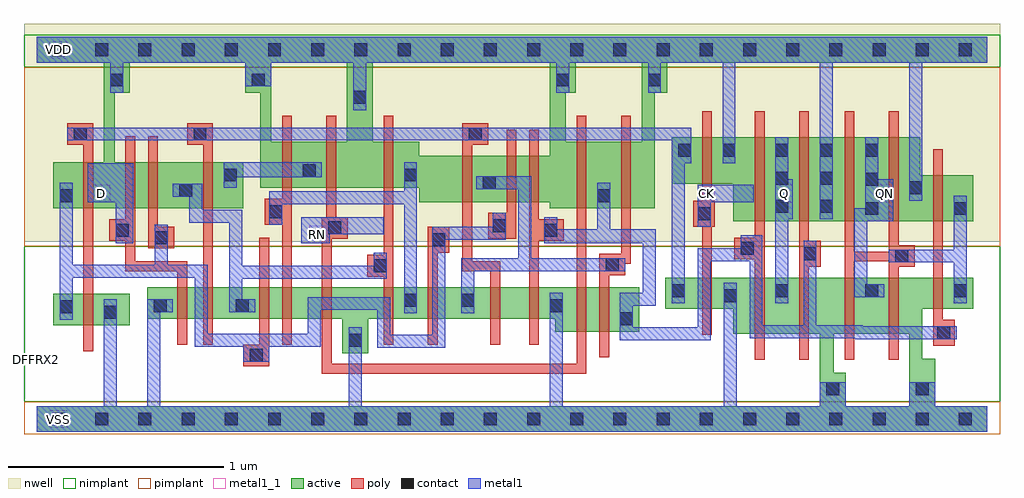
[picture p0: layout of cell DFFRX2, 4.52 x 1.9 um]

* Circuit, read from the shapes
.subckt DFFRX2 CK D Q QN RN VDD VSS
M1 VSS n1 n2 VSS nfet w=0.145u l=0.045u
M2 n3 D VSS VSS nfet w=0.145u l=0.045u
M3 n4 n1 n3 VSS nfet w=0.145u l=0.045u
M4 n5 n2 n4 VSS nfet w=0.145u l=0.045u
M5 n6 n7 n5 VSS nfet w=0.145u l=0.045u
M6 VSS RN n6 VSS nfet w=0.145u l=0.045u
M7 n7 n4 VSS VSS nfet w=0.145u l=0.045u
M8 n8 n2 n7 VSS nfet w=0.145u l=0.045u
M9 n9 n1 n8 VSS nfet w=0.145u l=0.045u
M10 VSS n10 n9 VSS nfet w=0.145u l=0.045u
M11 n11 RN VSS VSS nfet w=0.205u l=0.045u
M12 n10 n8 n11 VSS nfet w=0.205u l=0.045u
M13 VSS CK n1 VSS nfet w=0.145u l=0.045u
M14 Q n10 VSS VSS nfet w=0.26u l=0.045u m=2
M15 QN n12 VSS VSS nfet w=0.26u l=0.045u m=2
M16 n12 n10 VSS VSS nfet w=0.145u l=0.045u
M17 VDD n1 n2 VDD pfet w=0.215u l=0.045u
M18 n13 D VDD VDD pfet w=0.215u l=0.045u
M19 n4 n2 n13 VDD pfet w=0.215u l=0.045u
M20 n14 n1 n4 VDD pfet w=0.215u l=0.045u
M21 n14 n7 VDD VDD pfet w=0.215u l=0.045u
M22 VDD RN n14 VDD pfet w=0.215u l=0.045u
M23 n7 n4 VDD VDD pfet w=0.215u l=0.045u
M24 n8 n1 n7 VDD pfet w=0.215u l=0.045u
M25 n15 n2 n8 VDD pfet w=0.215u l=0.045u
M26 VDD n10 n15 VDD pfet w=0.215u l=0.045u
M27 n10 RN VDD VDD pfet w=0.31u l=0.045u
M28 VDD n8 n10 VDD pfet w=0.31u l=0.045u
M29 VDD CK n1 VDD pfet w=0.215u l=0.045u
M30 Q n10 VDD VDD pfet w=0.39u l=0.045u m=2
M31 QN n12 VDD VDD pfet w=0.39u l=0.045u m=2
M32 n12 n10 VDD VDD pfet w=0.215u l=0.045u
.ends

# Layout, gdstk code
import gdstk
lib = gdstk.Library(unit=1e-6, precision=5e-10)
def R(c, l, rs):  # rectangles x0, y0, x1, y1
    for r in rs: c.add(gdstk.rectangle(r[:2], r[2:], *l))
def A(c, l, x, y, w, h, nx, ny, dx, dy):  # array of equal rectangles
    R(c, l, [(x+i*dx, y+j*dy, x+i*dx+w, y+j*dy+h) for i in range(nx) for j in range(ny)])
def P(c, l, *ps):  # polygons
    for p in ps: c.add(gdstk.Polygon(p, *l))
active = (1, 0)
nwell = (2, 0)
poly = (3, 0)
nimplant = (4, 0)
pimplant = (5, 0)
contact = (6, 0)
metal1 = (7, 0)
metal1_1 = (7, 1)

dffrx2 = lib.new_cell('DFFRX2')
R(dffrx2, active, [(0.075,0.435,0.43,0.58)])
P(dffrx2, active, [(4.4,1.77),(0,1.77),(0,1.65),(0.31,1.65),(0.31,1.19),(0.075,1.19),(0.075,0.975),(0.955,0.975),(0.955,1.19),(0.36,1.19),(0.36,1.51),(0.43,1.51),(0.43,1.65),(0.965,1.65),(0.965,1.51),(1.035,1.51),(1.035,1.07),(1.77,1.07),(1.77,1.005),(2.375,1.005),(2.375,0.975),(2.86,0.975),(2.86,1.51),(2.8,1.51),(2.8,1.285),(2.45,1.285),(2.45,1.51),(2.375,1.51),(2.375,1.22),(1.77,1.22),(1.77,1.285),(1.555,1.285),(1.555,1.65),(1.435,1.65),(1.435,1.285),(1.085,1.285),(1.085,1.65),(2.375,1.65),(2.375,1.51),(2.495,1.51),(2.495,1.65),(2.8,1.65),(2.8,1.51),(2.92,1.51),(2.92,1.65),(4.4,1.65)],
  [(2.94,1.305),(4.09,1.305),(4.09,1.13),(4.335,1.13),(4.335,0.915),(3.225,0.915),(3.225,1.09),(2.94,1.09)],
  [(4.4,0.06),(4.16,0.06),(4.16,0.28),(4.1,0.28),(4.1,0.51),(4.335,0.51),(4.335,0.655),(4.04,0.655),(4.04,0.06),(3.745,0.06),(3.745,0.215),(3.69,0.215),(3.69,0.395),(4.04,0.395),(4.04,0.655),(2.91,0.655),(2.91,0.51),(3.225,0.51),(3.225,0.395),(3.625,0.395),(3.625,0.06),(0,0.06),(0,-0.06),(4.4,-0.06)],
  [(0.51,0.61),(2.79,0.61),(2.79,0.405),(2.4,0.405),(2.4,0.465),(1.535,0.465),(1.535,0.305),(1.415,0.305),(1.415,0.465),(0.51,0.465)])
R(dffrx2, nwell, [(-0.06,0.82,4.46,1.83)])
R(dffrx2, poly, [(3.04,0.89,3.14,1.01)])
P(dffrx2, poly, [(0.14,1.37),(0.26,1.37),(0.26,0.315),(0.215,0.315),(0.215,1.27),(0.14,1.27)],
  [(0.695,1.37),(0.815,1.37),(0.815,0.345),(0.77,0.345),(0.77,1.27),(0.695,1.27)],
  [(0.41,1.31),(0.455,1.31),(0.455,0.73),(0.695,0.73),(0.695,0.345),(0.65,0.345),(0.65,0.685),(0.41,0.685),(0.41,0.825),(0.335,0.825),(0.335,0.925),(0.41,0.925)],
  [(0.515,1.31),(0.56,1.31),(0.56,0.89),(0.635,0.89),(0.635,0.79),(0.515,0.79)],
  [(1.135,1.405),(1.18,1.405),(1.18,0.345),(1.135,0.345),(1.135,0.9),(1.055,0.9),(1.055,1.02),(1.135,1.02)],
  [(2.545,1.405),(2.5,1.405),(2.5,0.255),(1.365,0.255),(1.365,0.835),(1.44,0.835),(1.44,0.935),(1.385,0.935),(1.385,1.405),(1.34,1.405),(1.34,0.935),(1.32,0.935),(1.32,0.21),(2.545,0.21)],
  [(1.605,1.405),(1.65,1.405),(1.65,0.345),(1.605,0.345),(1.605,0.66),(1.53,0.66),(1.53,0.76),(1.605,0.76)],
  [(1.97,1.37),(2.09,1.37),(2.09,1.27),(2.015,1.27),(2.015,0.73),(2.145,0.73),(2.145,0.345),(2.1,0.345),(2.1,0.685),(1.97,0.685)],
  [(2.175,1.34),(2.22,1.34),(2.22,0.835),(2.09,0.835),(2.09,0.955),(2.175,0.955)],
  [(2.28,1.34),(2.325,1.34),(2.325,0.925),(2.44,0.925),(2.44,0.825),(2.325,0.825),(2.325,0.345),(2.28,0.345)],
  [(2.705,1.405),(2.75,1.405),(2.75,0.72),(2.725,0.72),(2.725,0.665),(2.65,0.665),(2.65,0.285),(2.605,0.285),(2.605,0.765),(2.705,0.765)],
  [(3.125,1.425),(3.08,1.425),(3.08,1.01),(3.04,1.01),(3.04,0.89),(3.08,0.89),(3.08,0.39),(3.125,0.39)],
  [(3.325,1.425),(3.37,1.425),(3.37,0.275),(3.325,0.275),(3.325,0.74),(3.23,0.74),(3.23,0.84),(3.325,0.84)],
  [(3.53,1.425),(3.575,1.425),(3.575,0.825),(3.63,0.825),(3.63,0.705),(3.575,0.705),(3.575,0.275),(3.53,0.275)],
  [(3.74,1.425),(3.785,1.425),(3.785,0.775),(3.945,0.775),(3.945,1.425),(3.99,1.425),(3.99,0.805),(4.065,0.805),(4.065,0.705),(3.99,0.705),(3.99,0.275),(3.945,0.275),(3.945,0.73),(3.785,0.73),(3.785,0.275),(3.74,0.275)],
  [(4.15,1.25),(4.195,1.25),(4.195,0.46),(4.25,0.46),(4.25,0.34),(4.15,0.34)],
  [(1.81,0.89),(1.91,0.89),(1.91,0.77),(1.855,0.77),(1.855,0.345),(1.81,0.345)],
  [(1.03,0.84),(1.075,0.84),(1.075,0.245),(0.955,0.245),(0.955,0.345),(1.03,0.345)])
R(dffrx2, nimplant, [(-0.06,0.08,4.46,0.8), (-0.06,1.63,4.46,1.78)])
R(dffrx2, pimplant, [(-0.06,-0.07,4.46,0.08), (-0.06,0.8,4.46,1.63)])
A(dffrx2, contact, 0.07, -0.03, 0.06, 0.06, 22, 2, 0.2, 1.71)
A(dffrx2, contact, 3.835, 0.945, 0.06, 0.06, 1, 3, 0, 0.135)
A(dffrx2, contact, 3.42, 0.955, 0.06, 0.06, 1, 3, 0, 0.13)
A(dffrx2, contact, 3.625, 0.955, 0.06, 0.06, 1, 3, 0, 0.13)
R(dffrx2, contact, [(3.655,0.11,3.715,0.17), (4.07,0.11,4.13,0.17), (0.985,0.265,1.045,0.325), (1.445,0.335,1.505,0.395), (4.17,0.37,4.23,0.43), (2.7,0.435,2.76,0.495), (0.31,0.465,0.37,0.525), (0.105,0.49,0.165,0.55), (0.54,0.495,0.6,0.555), (0.92,0.495,0.98,0.555), (2.375,0.495,2.435,0.555), (1.7,0.52,1.76,0.58), (1.965,0.52,2.025,0.58), (3.18,0.54,3.24,0.6), (2.94,0.565,3,0.625), (3.42,0.565,3.48,0.625), (3.835,0.565,3.895,0.625), (4.245,0.565,4.305,0.625), (1.56,0.68,1.62,0.74), (2.635,0.685,2.695,0.745), (3.975,0.725,4.035,0.785), (3.55,0.735,3.61,0.795), (3.26,0.76,3.32,0.82), (1.83,0.8,1.89,0.86), (0.545,0.81,0.605,0.87), (0.365,0.845,0.425,0.905), (2.35,0.845,2.41,0.905), (1.35,0.855,1.41,0.915), (2.11,0.865,2.17,0.925), (3.06,0.92,3.12,0.98), (1.075,0.93,1.135,0.99), (4.245,0.945,4.305,1.005), (0.105,1.005,0.165,1.065), (2.595,1.005,2.655,1.065), (0.66,1.03,0.72,1.09), (4.04,1.04,4.1,1.1), (2.065,1.065,2.125,1.125), (0.865,1.1,0.925,1.16), (1.7,1.1,1.76,1.16), (1.23,1.12,1.29,1.18), (2.97,1.215,3.03,1.275), (3.175,1.215,3.235,1.275), (0.17,1.29,0.23,1.35), (0.725,1.29,0.785,1.35), (2,1.29,2.06,1.35), (1.465,1.46,1.525,1.52), (0.34,1.54,0.4,1.6), (0.995,1.54,1.055,1.6), (2.405,1.54,2.465,1.6), (2.83,1.54,2.89,1.6)])
P(dffrx2, metal1, [(4.4,0.06),(4.16,0.06),(4.16,0.17),(4.04,0.17),(4.04,0.06),(3.745,0.06),(3.745,0.17),(3.625,0.17),(3.625,0.06),(3.24,0.06),(3.24,0.63),(3.18,0.63),(3.18,0.06),(2.435,0.06),(2.435,0.585),(2.375,0.585),(2.375,0.06),(1.505,0.06),(1.505,0.425),(1.445,0.425),(1.445,0.06),(0.57,0.06),(0.57,0.495),(0.63,0.495),(0.63,0.555),(0.51,0.555),(0.51,0.06),(0.37,0.06),(0.37,0.555),(0.31,0.555),(0.31,0.06),(0,0.06),(0,-0.06),(4.4,-0.06)],
  [(4.4,1.77),(0,1.77),(0,1.65),(0.34,1.65),(0.34,1.51),(0.4,1.51),(0.4,1.65),(0.965,1.65),(0.965,1.54),(1.085,1.54),(1.085,1.65),(1.465,1.65),(1.465,1.43),(1.525,1.43),(1.525,1.65),(2.405,1.65),(2.405,1.51),(2.465,1.51),(2.465,1.65),(2.83,1.65),(2.83,1.51),(2.89,1.51),(2.89,1.65),(3.175,1.65),(3.175,1.185),(3.235,1.185),(3.235,1.65),(3.625,1.65),(3.625,0.925),(3.685,0.925),(3.685,1.65),(4.04,1.65),(4.04,1.01),(4.1,1.01),(4.1,1.65),(4.4,1.65)],
  [(4.305,1.035),(4.245,1.035),(4.245,0.785),(3.945,0.785),(3.945,0.725),(4.245,0.725),(4.245,0.535),(4.305,0.535)],
  [(4.26,0.43),(3.825,0.43),(3.825,0.435),(3.61,0.435),(3.61,0.825),(3.55,0.825),(3.55,0.435),(3.36,0.435),(3.36,0.85),(3.26,0.85),(3.26,0.79),(3.06,0.79),(3.06,0.425),(2.76,0.425),(2.76,0.525),(2.865,0.525),(2.865,0.88),(2.655,0.88),(2.655,1.095),(2.595,1.095),(2.595,0.88),(2.41,0.88),(2.41,0.935),(2.35,0.935),(2.35,0.815),(2.805,0.815),(2.805,0.585),(2.7,0.585),(2.7,0.365),(3.12,0.365),(3.12,0.73),(3.3,0.73),(3.3,0.375),(3.79,0.375),(3.79,0.37),(4.26,0.37)],
  [(3.965,1.11),(3.895,1.11),(3.895,1.305),(3.835,1.305),(3.835,0.975),(3.785,0.975),(3.785,0.565),(3.925,0.565),(3.925,0.625),(3.845,0.625),(3.845,0.915),(3.965,0.915)],
  [(3.5,1.11),(3.48,1.11),(3.48,1.305),(3.42,1.305),(3.42,0.535),(3.48,0.535),(3.48,0.925),(3.5,0.925)],
  [(3.32,1.085),(3.06,1.085),(3.06,0.89),(3.12,0.89),(3.12,1.005),(3.32,1.005)],
  [(3.03,1.35),(0.14,1.35),(0.14,1.29),(2.94,1.29),(2.94,0.535),(3,0.535),(3,1.185),(3.03,1.185)],
  [(2.725,0.745),(2.29,0.745),(2.29,1.125),(2.035,1.125),(2.035,1.065),(2.23,1.065),(2.23,0.745),(1.965,0.745),(1.965,0.49),(2.025,0.49),(2.025,0.685),(2.725,0.685)],
  [(2.17,0.955),(2.11,0.955),(2.11,0.89),(1.83,0.89),(1.83,0.39),(1.635,0.39),(1.635,0.565),(1.255,0.565),(1.255,0.395),(0.79,0.395),(0.79,0.715),(0.605,0.715),(0.605,0.9),(0.545,0.9),(0.545,0.715),(0.165,0.715),(0.165,1.095),(0.105,1.095),(0.105,0.46),(0.165,0.46),(0.165,0.655),(0.73,0.655),(0.73,0.335),(0.955,0.335),(0.955,0.265),(1.075,0.265),(1.075,0.335),(1.315,0.335),(1.315,0.505),(1.575,0.505),(1.575,0.33),(1.89,0.33),(1.89,0.83),(2.17,0.83)],
  [(1.76,1.19),(1.7,1.19),(1.7,1.055),(1.075,1.055),(1.075,0.9),(1.135,0.9),(1.135,0.995),(1.7,0.995),(1.7,0.49),(1.76,0.49)],
  [(1.62,0.77),(1.56,0.77),(1.56,0.71),(0.95,0.71),(0.95,0.97),(0.765,0.97),(0.765,1.09),(0.63,1.09),(0.63,1.03),(0.705,1.03),(0.705,0.91),(0.89,0.91),(0.89,0.495),(1.01,0.495),(1.01,0.555),(0.95,0.555),(0.95,0.65),(1.62,0.65)],
  [(1.605,0.935),(1.225,0.935),(1.225,0.815),(1.355,0.815),(1.355,0.855),(1.605,0.855)],
  [(1.32,1.19),(0.865,1.19),(0.865,1.07),(0.925,1.07),(0.925,1.12),(1.32,1.12)],
  [(0.445,1.185),(0.235,1.185),(0.235,1.005),(0.365,1.005),(0.365,0.815),(0.445,0.815)])
R(dffrx2, metal1_1, [(0.06,-0.04,0.14,0.04), (1.26,0.815,1.34,0.895), (0.26,1.005,0.34,1.085), (3.06,1.005,3.14,1.085), (3.42,1.005,3.5,1.085), (3.885,1.005,3.965,1.085), (0.06,1.67,0.14,1.75)])
dffrx2.add(gdstk.Label('VSS', (0.1,0), layer=7, texttype=1))
dffrx2.add(gdstk.Label('QN', (3.925,1.045), layer=7, texttype=1))
dffrx2.add(gdstk.Label('Q', (3.46,1.045), layer=7, texttype=1))
dffrx2.add(gdstk.Label('CK', (3.1,1.045), layer=7, texttype=1))
dffrx2.add(gdstk.Label('RN', (1.3,0.855), layer=7, texttype=1))
dffrx2.add(gdstk.Label('D', (0.3,1.045), layer=7, texttype=1))
dffrx2.add(gdstk.Label('VDD', (0.1,1.71), layer=7, texttype=1))
dffrx2.add(gdstk.Label('DFFRX2', (0,0.275), layer=63, texttype=0))

lib.write_gds('DFFRX2.gds')
